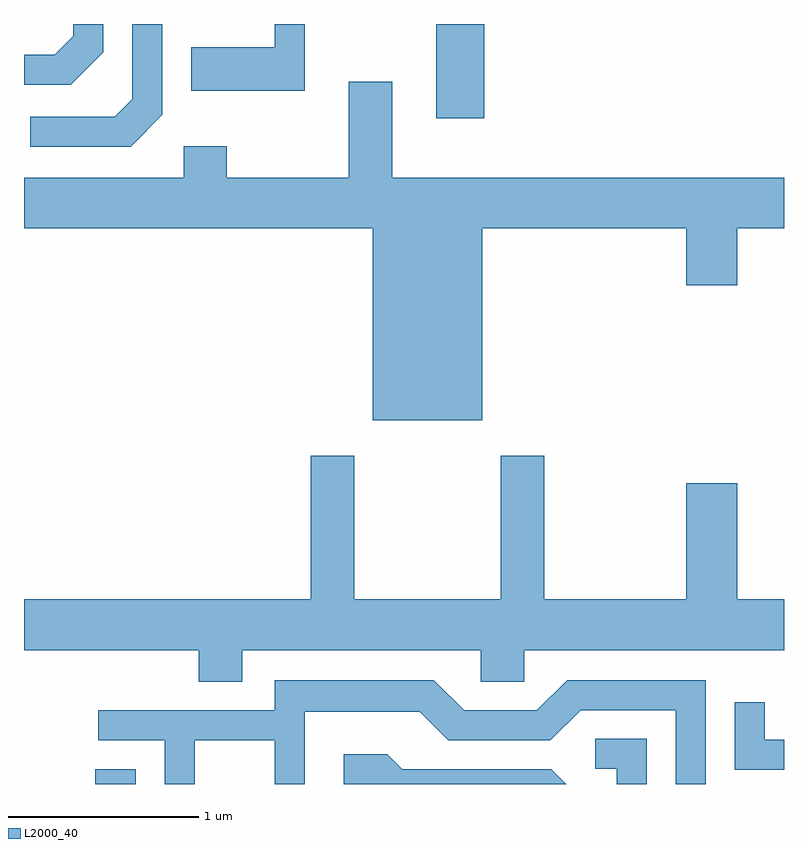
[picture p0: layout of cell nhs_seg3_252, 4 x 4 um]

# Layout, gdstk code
import gdstk
lib = gdstk.Library(unit=1e-6, precision=1e-09)
def R(c, l, rs):  # rectangles x0, y0, x1, y1
    for r in rs: c.add(gdstk.rectangle(r[:2], r[2:], *l))
def P(c, l, *ps):  # polygons
    for p in ps: c.add(gdstk.Polygon(p, *l))
L2000_40 = (2000, 40)

nhs_seg3_252 = lib.new_cell('nhs_seg3_252')
R(nhs_seg3_252, L2000_40, [(191.986,1211.892,192.199,1211.969), (193.781,1215.396,194.034,1215.892), (194.546,1215.891,195.174,1215.892)])
P(nhs_seg3_252, L2000_40, [(193.089,1215.892),(192.931,1215.892),(192.931,1215.769),(192.491,1215.769),(192.491,1215.541),(193.089,1215.541)],
  [(192.029,1215.744),(192.029,1215.892),(191.871,1215.892),(191.871,1215.827),(191.774,1215.729),(191.611,1215.729),(191.611,1215.571),(191.857,1215.571)],
  [(192.339,1215.414),(192.339,1215.892),(192.181,1215.892),(192.181,1215.497),(192.089,1215.404),(191.643,1215.404),(191.643,1215.246),(192.172,1215.246)],
  [(194.024,1214.816),(195.096,1214.816),(195.096,1214.516),(195.364,1214.516),(195.364,1214.816),(195.611,1214.816),(195.611,1215.084),(193.549,1215.084),(193.549,1215.589),(193.321,1215.589),(193.321,1215.084),(192.679,1215.084),(192.679,1215.249),(192.451,1215.249),(192.451,1215.084),(191.611,1215.084),(191.611,1214.816),(193.446,1214.816),(193.446,1213.806),(194.024,1213.806)],
  [(192.759,1212.596),(194.016,1212.596),(194.016,1212.431),(194.244,1212.431),(194.244,1212.596),(195.611,1212.596),(195.611,1212.864),(195.364,1212.864),(195.364,1213.474),(195.096,1213.474),(195.096,1212.864),(194.349,1212.864),(194.349,1213.619),(194.121,1213.619),(194.121,1212.864),(193.349,1212.864),(193.349,1213.619),(193.121,1213.619),(193.121,1212.864),(191.611,1212.864),(191.611,1212.596),(192.531,1212.596),(192.531,1212.431),(192.759,1212.431)],
  [(192.509,1212.121),(192.931,1212.121),(192.931,1211.892),(193.089,1211.892),(193.089,1212.271),(193.694,1212.271),(193.844,1212.121),(194.382,1212.121),(194.542,1212.281),(195.041,1212.281),(195.041,1211.892),(195.199,1211.892),(195.199,1212.439),(194.469,1212.439),(194.309,1212.279),(193.927,1212.279),(193.767,1212.439),(192.931,1212.439),(192.931,1212.279),(192.003,1212.279),(192.003,1212.121),(192.351,1212.121),(192.351,1211.892),(192.509,1211.892)],
  [(195.611,1212.124),(195.509,1212.124),(195.509,1212.323),(195.351,1212.323),(195.351,1211.966),(195.611,1211.966)],
  [(194.889,1212.129),(194.618,1212.129),(194.618,1211.971),(194.731,1211.971),(194.731,1211.892),(194.889,1211.892)],
  [(194.387,1211.969),(193.602,1211.969),(193.522,1212.049),(193.293,1212.049),(193.293,1211.892),(194.464,1211.892)])

lib.write_gds('nhs_seg3_252.gds')
